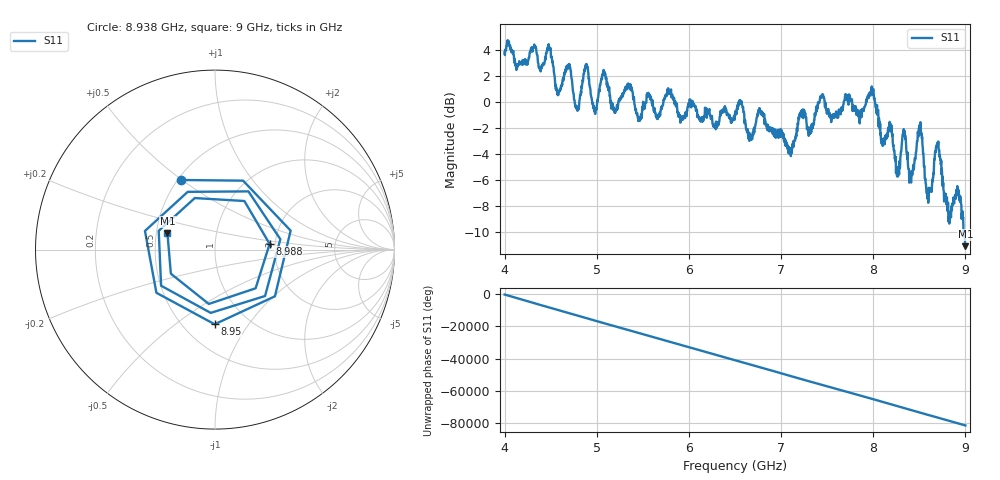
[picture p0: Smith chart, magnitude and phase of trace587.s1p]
! Created with skrf 1.8.0 (http://scikit-rf.org).
# Hz S RI R 50.0
!freq ReS11 ImS11
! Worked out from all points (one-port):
!   1601 points, 4 GHz to 9 GHz, reference 50 ohm
!   lowest |S11| = -11.1 dB at 9 GHz (marker M1), VSWR 1.78, Z = 28.7 + j5.59 ohm
!   |S11| at or under -10 dB: 8.97993 GHz to 8.983954 GHz (4.025 MHz wide, 0.0448 % of centre); 8.984046 GHz to end of sweep
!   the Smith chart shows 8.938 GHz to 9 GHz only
!   S11 on the Smith chart (normalised r, x): 8.938 GHz: 0.52, +0.49; 8.95 GHz: 0.70, -0.71; 8.988 GHz: 1.87, +0.13; 9 GHz: 0.57, +0.11
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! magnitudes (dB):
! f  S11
! 4 GHz  3.8
! 4.475 GHz  4.2
! 4.625 GHz  1.3
! 4.694 GHz  2.8
! 4.788 GHz  -0.4
! 4.884 GHz  2.6
! 4.975 GHz  -0.7
! 5.075 GHz  2.5
! 5.25 GHz  0.2
! 5.875 GHz  -0.8
! 6.5 GHz  -0.9
! 7.125 GHz  -3.2
! 7.225 GHz  -1.2
! 7.75 GHz  0.3
! 7.988 GHz  0.9
! 8.188 GHz  -1.7
! 8.256 GHz  -5.6
! 8.331 GHz  -2.1
! 8.375 GHz  -4.6
! 8.416 GHz  -5.3
! 8.506 GHz  -2.0
! 8.594 GHz  -6.7
! 8.697 GHz  -3.1
! 8.819 GHz  -9.2
! 8.938 GHz  -7.3
! 8.95 GHz  -7.6
! 8.988 GHz  -10.3
! 9 GHz  -11.1
